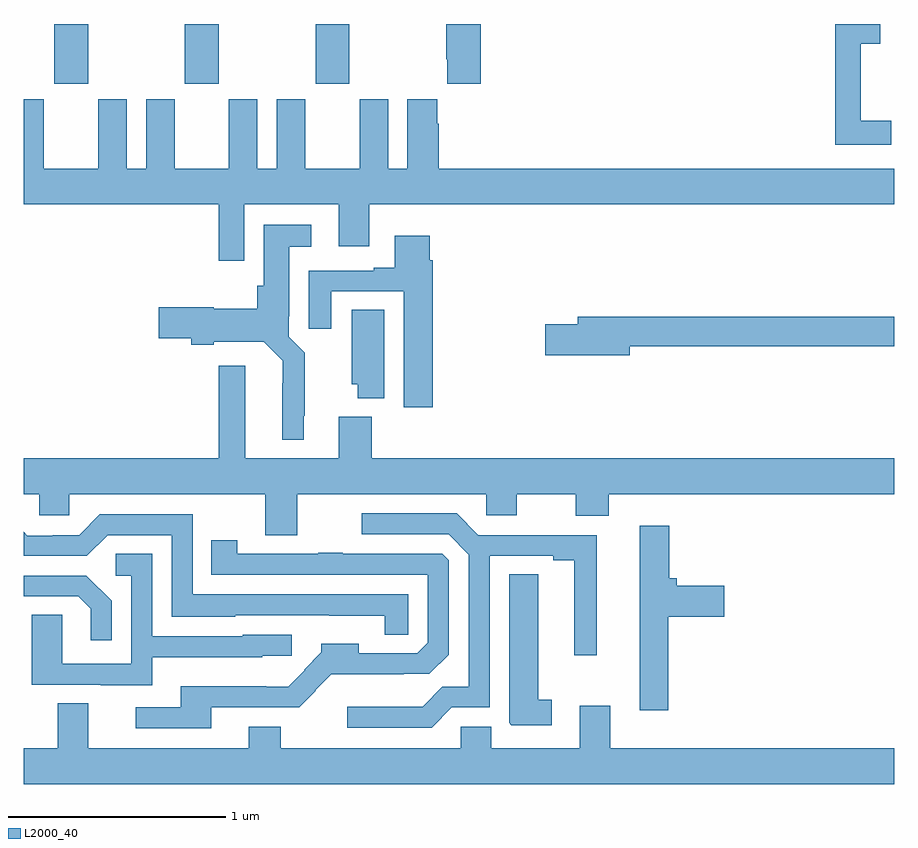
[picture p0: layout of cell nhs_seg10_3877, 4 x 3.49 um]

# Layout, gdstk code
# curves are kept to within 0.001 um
import gdstk
lib = gdstk.Library(unit=1e-6, precision=1e-09)
def R(c, l, rs):  # rectangles x0, y0, x1, y1
    for r in rs: c.add(gdstk.rectangle(r[:2], r[2:], *l))
def A(c, l, x, y, w, h, nx, ny, dx, dy):  # array of equal rectangles
    R(c, l, [(x+i*dx, y+j*dy, x+i*dx+w, y+j*dy+h) for i in range(nx) for j in range(ny)])
def P(c, l, *ps):  # polygons
    for p in ps: c.add(gdstk.Polygon(p, *l))
L2000_40 = (2000, 40)

nhs_seg10_3877 = lib.new_cell('nhs_seg10_3877')
A(nhs_seg10_3877, L2000_40, 325.141, 1278.225, 0.155, 0.275, 3, 1, 0.6, 0)
P(nhs_seg10_3877, L2000_40, [(327.101,1278.5),(326.941,1278.5),(326.941,1278.337),(326.945,1278.337),(326.945,1278.225),(327.101,1278.225)],
  [(328.987,1278.055),(328.847,1278.055),(328.847,1278.41),(328.936,1278.41),(328.936,1278.5),(328.729,1278.5),(328.729,1277.946),(328.987,1277.946)],
  [(326.013,1277.672),(326.447,1277.672),(326.447,1277.478),(326.587,1277.478),(326.587,1277.672),(329,1277.672),(329,1277.836),(326.906,1277.836),(326.906,1278.041),(326.899,1278.041),(326.899,1278.154),(326.762,1278.154),(326.762,1277.836),(326.674,1277.836),(326.674,1278.154),(326.543,1278.154),(326.543,1277.836),(326.293,1277.836),(326.293,1278.154),(326.162,1278.154),(326.162,1277.836),(326.074,1277.836),(326.074,1278.154),(325.943,1278.154),(325.943,1277.836),(325.693,1277.836),(325.693,1278.154),(325.562,1278.154),(325.562,1277.836),(325.474,1277.836),(325.474,1278.154),(325.343,1278.154),(325.343,1277.836),(325.093,1277.836),(325.093,1278.154),(325,1278.154),(325,1277.672),(325.897,1277.672),(325.897,1277.412),(326.013,1277.412)],
  [(326.287,1276.699),(326.291,1276.699),(326.291,1276.99),(326.217,1277.064),(326.217,1277.158),(326.221,1277.158),(326.221,1277.477),(326.32,1277.477),(326.32,1277.578),(326.102,1277.578),(326.102,1277.298),(326.072,1277.298),(326.072,1277.191),(325.873,1277.191),(325.873,1277.199),(325.62,1277.199),(325.62,1277.057),(325.769,1277.057),(325.769,1277.027),(325.873,1277.027),(325.873,1277.039),(326.103,1277.039),(326.19,1276.952),(326.189,1276.589),(326.287,1276.589)],
  [(326.879,1277.414),(326.866,1277.414),(326.866,1277.527),(326.705,1277.527),(326.705,1277.38),(326.609,1277.38),(326.609,1277.367),(326.309,1277.367),(326.309,1277.1),(326.413,1277.1),(326.413,1277.271),(326.747,1277.271),(326.747,1276.74),(326.879,1276.74)],
  [(326.656,1277.186),(326.507,1277.186),(326.507,1276.845),(326.534,1276.845),(326.534,1276.781),(326.656,1276.781)],
  [(327.784,1277.02),(329,1277.02),(329,1277.156),(327.545,1277.156),(327.545,1277.12),(327.396,1277.12),(327.396,1276.978),(327.784,1276.978)],
  [(326.257,1276.34),(327.126,1276.34),(327.126,1276.242),(327.265,1276.242),(327.265,1276.34),(327.536,1276.34),(327.536,1276.241),(327.689,1276.241),(327.689,1276.34),(329,1276.34),(329,1276.504),(326.6,1276.504),(326.6,1276.696),(326.447,1276.696),(326.447,1276.504),(326.017,1276.504),(326.017,1276.93),(325.895,1276.93),(325.895,1276.504),(325,1276.504),(325,1276.34),(325.071,1276.34),(325.071,1276.242),(325.209,1276.242),(325.209,1276.34),(326.11,1276.34),(326.11,1276.15),(326.257,1276.15)],
  [(326.967,1275.36),(327.141,1275.36),(327.141,1276.056),(327.434,1276.056),(327.434,1276.036),(327.53,1276.036),(327.53,1275.6),(327.634,1275.6),(327.634,1276.152),(327.088,1276.152),(326.989,1276.251),(326.553,1276.251),(326.553,1276.155),(326.952,1276.155),(327.045,1276.062),(327.045,1275.455),(326.924,1275.455),(326.833,1275.364),(326.487,1275.364),(326.487,1275.267),(326.874,1275.267)],
  [(326.766,1275.879),(325.776,1275.879),(325.776,1276.248),(325.35,1276.248),(325.254,1276.152),(325.134,1276.152),(325.134,1276.149),(325.017,1276.149),(325,1276.166),(325,1276.056),(325.29,1276.056),(325.386,1276.152),(325.68,1276.152),(325.68,1275.776),(325.971,1275.776),(325.971,1275.783),(326.658,1275.782),(326.658,1275.694),(326.766,1275.694)],
  [(327.962,1275.776),(328.219,1275.776),(328.219,1275.918),(328.001,1275.918),(328.001,1275.954),(327.965,1275.954),(327.965,1276.195),(327.83,1276.195),(327.83,1275.348),(327.962,1275.348)],
  [(325.861,1275.36),(326.265,1275.36),(326.341,1275.437),(326.339,1275.439),(326.413,1275.513),(326.747,1275.512),(326.747,1275.514),(326.863,1275.514),(326.952,1275.603),(326.952,1276.035),(326.922,1276.065),(326.465,1276.065),(326.465,1276.07),(326.353,1276.07),(326.353,1276.065),(325.98,1276.065),(325.98,1276.129),(325.861,1276.129),(325.861,1275.969),(326.856,1275.969),(326.856,1275.657),(326.808,1275.609),(326.539,1275.609),(326.539,1275.652),(326.368,1275.652),(326.368,1275.613),(326.289,1275.534),(326.292,1275.531),(326.216,1275.455),(326.114,1275.455),(326.114,1275.457),(325.721,1275.457),(325.721,1275.36),(325.515,1275.36),(325.515,1275.264),(325.861,1275.264)],
  [(325.591,1275.59),(326.097,1275.59),(326.097,1275.597),(326.232,1275.597),(326.232,1275.693),(326.007,1275.693),(326.007,1275.687),(325.59,1275.687),(325.59,1276.067),(325.422,1276.067),(325.422,1275.966),(325.494,1275.966),(325.494,1275.561),(325.176,1275.561),(325.176,1275.785),(325.037,1275.785),(325.037,1275.465),(325.355,1275.465),(325.355,1275.461),(325.591,1275.461)],
  [(327.427,1275.395),(327.364,1275.395),(327.364,1275.971),(327.23,1275.971),(327.23,1275.289),(327.24,1275.279),(327.427,1275.279)],
  [(325.404,1275.85),(325.288,1275.966),(325,1275.966),(325,1275.87),(325.25,1275.87),(325.307,1275.813),(325.307,1275.669),(325.404,1275.669)],
  [(329,1275.172),(327.694,1275.172),(327.694,1275.367),(327.554,1275.367),(327.554,1275.172),(327.148,1275.172),(327.148,1275.27),(327.009,1275.27),(327.009,1275.172),(326.181,1275.172),(326.181,1275.271),(326.033,1275.271),(326.033,1275.172),(325.297,1275.172),(325.297,1275.38),(325.157,1275.38),(325.157,1275.172),(325,1275.172),(325,1275.008),(329,1275.008)])

lib.write_gds('nhs_seg10_3877.gds')
